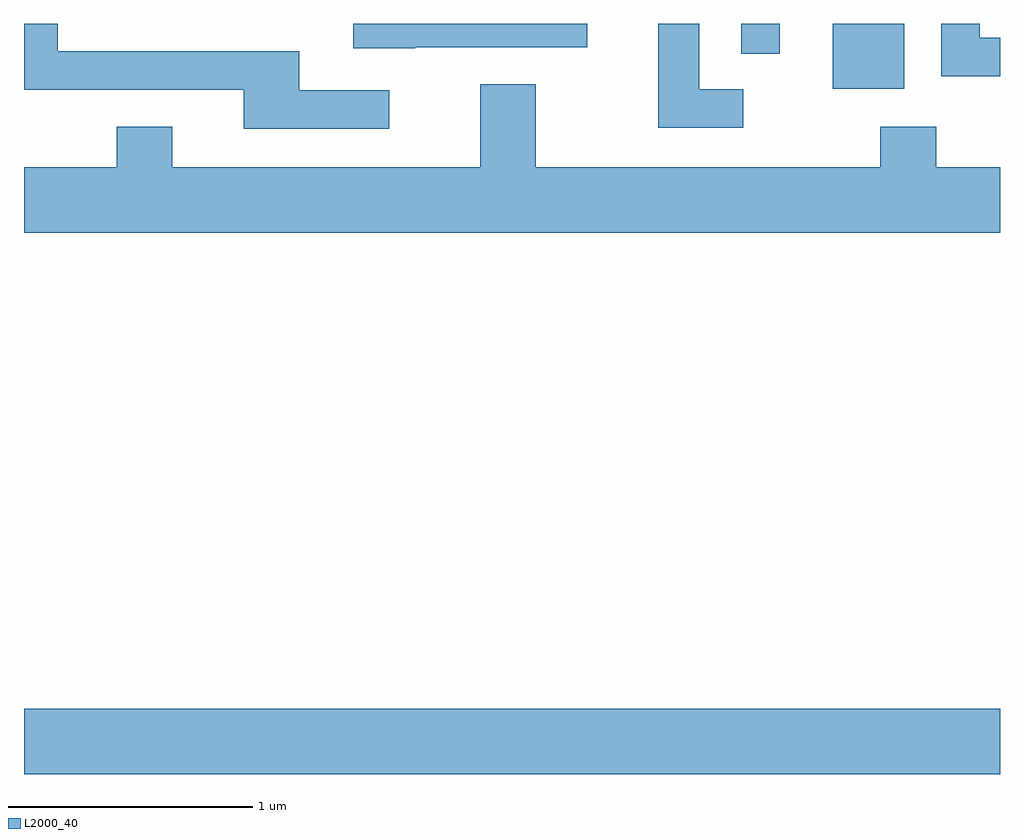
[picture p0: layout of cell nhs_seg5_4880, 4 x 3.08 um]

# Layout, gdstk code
import gdstk
lib = gdstk.Library(unit=1e-6, precision=1e-09)
def R(c, l, rs):  # rectangles x0, y0, x1, y1
    for r in rs: c.add(gdstk.rectangle(r[:2], r[2:], *l))
def P(c, l, *ps):  # polygons
    for p in ps: c.add(gdstk.Polygon(p, *l))
L2000_40 = (2000, 40)

nhs_seg5_4880 = lib.new_cell('nhs_seg5_4880')
R(nhs_seg5_4880, L2000_40, [(329.611,1478.996,333.611,1479.264), (332.926,1481.806,333.219,1482.072), (332.551,1481.948,332.709,1482.072)])
P(nhs_seg5_4880, L2000_40, [(331.108,1481.799),(330.739,1481.799),(330.739,1481.959),(329.749,1481.959),(329.749,1482.072),(329.611,1482.072),(329.611,1481.801),(330.511,1481.801),(330.511,1481.641),(331.108,1481.641)],
  [(332.558,1481.804),(332.379,1481.804),(332.379,1482.072),(332.211,1482.072),(332.211,1481.646),(332.558,1481.646)],
  [(333.611,1482.014),(333.529,1482.014),(333.529,1482.072),(333.371,1482.072),(333.371,1481.856),(333.611,1481.856)],
  [(331.215,1481.976),(331.919,1481.976),(331.919,1482.072),(330.961,1482.072),(330.961,1481.971),(331.215,1481.971)],
  [(333.611,1481.484),(333.349,1481.484),(333.349,1481.649),(333.121,1481.649),(333.121,1481.484),(331.709,1481.484),(331.709,1481.824),(331.481,1481.824),(331.481,1481.484),(330.219,1481.484),(330.219,1481.649),(329.991,1481.649),(329.991,1481.484),(329.611,1481.484),(329.611,1481.216),(333.611,1481.216)])

lib.write_gds('nhs_seg5_4880.gds')
